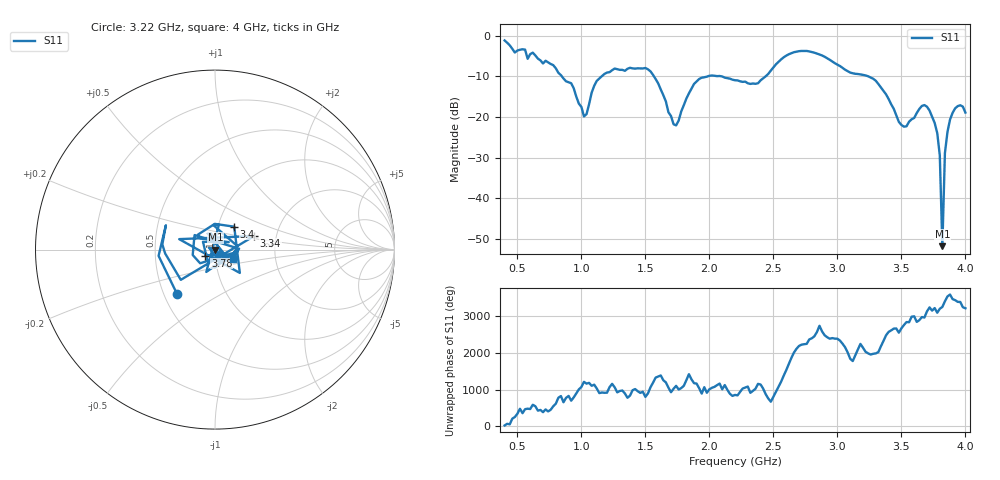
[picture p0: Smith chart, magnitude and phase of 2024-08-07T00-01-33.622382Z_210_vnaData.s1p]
!Created with skrf (http://scikit-rf.org).
# Hz S RI R 50.0
!freq ReS11 ImS11
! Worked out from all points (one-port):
!   181 points, 400 MHz to 4 GHz, reference 50 ohm
!   lowest |S11| = -51.7 dB at 3.82 GHz (marker M1), VSWR 1.01, Z = 50.3 + j0.0433 ohm
!   |S11| at or under -10 dB: 1.567 GHz to 1.988 GHz (421.9 MHz wide, 23.7 % of centre); 2.093 GHz to 2.44 GHz (346.9 MHz wide, 15.3 % of centre); 3.24 GHz to end of sweep (the widest 3 of 4)
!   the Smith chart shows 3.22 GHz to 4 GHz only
!   S11 on the Smith chart (normalised r, x): 3.22 GHz: 0.58, -0.32; 3.34 GHz: 1.53, +0.24; 3.4 GHz: 1.19, +0.31; 3.78 GHz: 0.90, -0.06; 4 GHz: 1.22, -0.13
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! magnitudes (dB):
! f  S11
! 400 MHz  -1.2
! 860 MHz  -10.5
! 920 MHz  -11.7
! 1.02 GHz  -19.9
! 1.12 GHz  -11.1
! 1.3 GHz  -8.4
! 1.54 GHz  -8.8
! 1.72 GHz  -21.8
! 1.76 GHz  -20.9
! 1.92 GHz  -10.7
! 2.2 GHz  -11.0
! 2.38 GHz  -11.7
! 2.66 GHz  -4.1
! 2.86 GHz  -4.6
! 3.1 GHz  -9.1
! 3.22 GHz  -9.8
! 3.34 GHz  -12.8
! 3.4 GHz  -15.6
! 3.5 GHz  -21.9
! 3.56 GHz  -21.2
! 3.68 GHz  -17.1
! 3.78 GHz  -23.9
! 3.8 GHz  -29.4
! 3.82 GHz  -51.7
! 3.84 GHz  -28.9
! 3.86 GHz  -23.7
! 3.92 GHz  -17.9
! 4 GHz  -18.9
